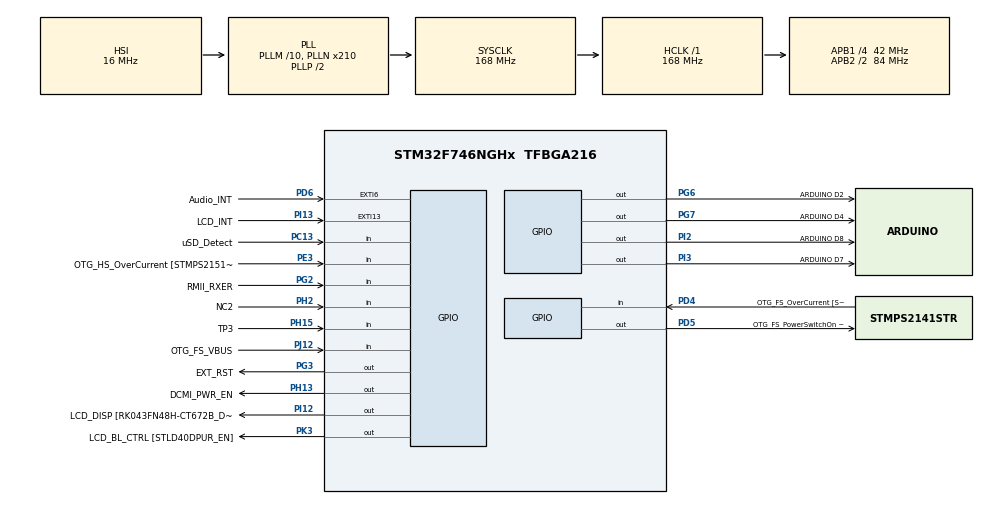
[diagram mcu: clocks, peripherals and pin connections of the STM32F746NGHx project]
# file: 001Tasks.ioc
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Mcu.Family=STM32F7
Mcu.Name=STM32F746NGHx
Mcu.Package=TFBGA216
NVIC.PriorityGroup=NVIC_PRIORITYGROUP_4
NVIC.TIM6_DAC_IRQn=true\:15\:0\:false\:false\:true\:false\:true\:true
NVIC.TimeBase=TIM6_DAC_IRQn
NVIC.TimeBaseIP=TIM6
PA0/WKUP.GPIO_Label=ARDUINO A0
PA0/WKUP.GPIO_Mode=GPIO_MODE_ANALOG
PA0/WKUP.GPIO_PuPd=GPIO_NOPULL
PA0/WKUP.Signal=ADCx_IN0
PA1.GPIO_Label=RMII_REF_CLK [LAN8742A-CZ-TR_REFCLK0]
PA1.Signal=ETH_REF_CLK
PA10.GPIO_Label=OTG_FS_ID
PA10.Signal=USB_OTG_FS_ID
PA11.GPIO_Label=OTG_FS_N
PA11.Signal=USB_OTG_FS_DM
PA12.GPIO_Label=OTG_FS_P
PA12.Signal=USB_OTG_FS_DP
PA13.GPIO_Label=SWDIO
PA13.Signal=SYS_JTMS-SWDIO
PA14.GPIO_Label=SWCLK
PA14.Signal=SYS_JTCK-SWCLK
PA15.GPIO_Label=ARDUINO PWM/D9
PA15.GPIO_ModeDefaultPP=GPIO_MODE_AF_PP
PA15.GPIO_PuPd=GPIO_NOPULL
PA15.GPIO_Speed=GPIO_SPEED_FREQ_LOW
PA15.Signal=S_TIM2_CH1_ETR
PA2.GPIO_Label=RMII_MDIO [LAN8742A-CZ-TR_MDIO]
PA2.Signal=ETH_MDIO
PA3.GPIO_Label=ULPI_D0 [USB3320C-EZK_D0]
PA3.Signal=USB_OTG_HS_ULPI_D0
PA4.GPIO_Label=DCMI_HSYNC
PA4.Signal=DCMI_HSYNC
PA5.GPIO_Label=ULPI_CLK [USB3320C-EZK_CLKOUT]
PA5.Signal=USB_OTG_HS_ULPI_CK
PA6.Signal=DCMI_PIXCLK
PA7.GPIO_Label=RMII_CRS_DV [LAN8742A-CZ-TR_CRS_DV]
PA7.Signal=ETH_CRS_DV
PA8.GPIO_Label=ARDUINO PWM/D10
PA8.GPIO_ModeDefaultPP=GPIO_MODE_AF_PP
PA8.GPIO_PuPd=GPIO_NOPULL
PA8.GPIO_Speed=GPIO_SPEED_FREQ_LOW
PA8.Signal=S_TIM1_CH1
PA9.GPIO_Label=VCP_TX [STM32F103CBT6_PA3]
PA9.GPIO_Mode=GPIO_MODE_AF_PP
PA9.GPIO_PuPd=GPIO_NOPULL
PA9.GPIO_Speed=GPIO_SPEED_FREQ_LOW
PA9.Signal=USART1_TX
PB0.GPIO_Label=ULPI_D1 [USB3320C-EZK_D1]
PB0.Signal=USB_OTG_HS_ULPI_D1
PB1.GPIO_Label=ULPI_D2 [USB3320C-EZK_D2]
PB1.Signal=USB_OTG_HS_ULPI_D2
PB10.GPIO_Label=ULPI_D3 [USB3320C-EZK_D3]
PB10.Signal=USB_OTG_HS_ULPI_D3
PB11.GPIO_Label=ULPI_D4 [USB3320C-EZK_D4]
PB11.Signal=USB_OTG_HS_ULPI_D4
PB12.GPIO_Label=ULPI_D5 [USB3320C-EZK_D5]
PB12.Signal=USB_OTG_HS_ULPI_D5
PB13.GPIO_Label=ULPI_D6 [USB3320C-EZK_D6]
PB13.Signal=USB_OTG_HS_ULPI_D6
PB14.GPIO_Label=ARDUINO MISO/D12
PB14.GPIO_Mode=GPIO_MODE_AF_PP
PB14.GPIO_PuPd=GPIO_NOPULL
PB14.GPIO_Speed=GPIO_SPEED_FREQ_LOW
PB14.Signal=SPI2_MISO
PB15.GPIO_Label=ARDUINO MOSI/PWM/D11
PB15.GPIO_Mode=GPIO_MODE_AF_PP
PB15.GPIO_PuPd=GPIO_NOPULL
PB15.GPIO_Speed=GPIO_SPEED_FREQ_LOW
PB15.Signal=SPI2_MOSI
PB2.Signal=QUADSPI_CLK
PB3.GPIO_Label=SWO
PB3.Signal=SYS_JTDO-SWO
PB4.GPIO_Label=ARDUINO PWM/D3
PB4.GPIO_ModeDefaultPP=GPIO_MODE_AF_PP
PB4.GPIO_PuPd=GPIO_NOPULL
PB4.GPIO_Speed=GPIO_SPEED_FREQ_LOW
PB4.Signal=S_TIM3_CH1
PB5.GPIO_Label=ULPI_D7 [USB3320C-EZK_D7]
PB5.Signal=USB_OTG_HS_ULPI_D7
PB6.GPIO_Label=QSPI_NCS [N25Q128A13EF840E_S]
PB6.Signal=QUADSPI_BK1_NCS
PB7.GPIO_Label=VCP_RX [STM32F103CBT6_PA2]
PB7.GPIO_Mode=GPIO_MODE_AF_PP
PB7.GPIO_PuPd=GPIO_NOPULL
PB7.GPIO_Speed=GPIO_SPEED_FREQ_LOW
PB7.Signal=USART1_RX
PB8.GPIO_Label=ARDUINO SCL/D15
PB8.GPIO_Mode=GPIO_MODE_AF_OD
PB8.GPIO_PuPd=GPIO_NOPULL
PB8.GPIO_Speed=GPIO_SPEED_FREQ_LOW
PB8.Signal=I2C1_SCL
PB9.GPIO_Label=ARDUINO SDA/D14
PB9.GPIO_Mode=GPIO_MODE_AF_OD
PB9.GPIO_PuPd=GPIO_NOPULL
PB9.GPIO_Speed=GPIO_SPEED_FREQ_LOW
PB9.Signal=I2C1_SDA
PC0.GPIO_Label=ULPI_STP [USB3320C-EZK_STP]
PC0.Signal=USB_OTG_HS_ULPI_STP
PC1.GPIO_Label=RMII_MDC [LAN8742A-CZ-TR_MDC]
PC1.Signal=ETH_MDC
PC10.GPIO_Label=SDMMC_D2
PC10.Signal=SDMMC1_D2
PC11.GPIO_Label=SDMMC_D3
PC11.Signal=SDMMC1_D3
PC12.GPIO_Label=SDMMC_CK
PC12.Signal=SDMMC1_CK
PC13.GPIO_Label=uSD_Detect
PC13.Signal=GPIO_Input
PC14/OSC32_IN.GPIO_Label=RCC_OSC32_IN
PC14/OSC32_IN.Signal=RCC_OSC32_IN
PC15/OSC32_OUT.GPIO_Label=RCC_OSC32_OUT
PC15/OSC32_OUT.Signal=RCC_OSC32_OUT
PC2.GPIO_Label=ULPI_DIR [USB3320C-EZK_DIR]
PC2.Signal=USB_OTG_HS_ULPI_DIR
PC3.GPIO_Label=FMC_SDCKE0 [MT48LC4M32B2B5-6A_CKE]
PC3.Signal=FMC_SDCKE0
PC4.GPIO_Label=RMII_RXD0 [LAN8742A-CZ-TR_RXD0]
PC4.Signal=ETH_RXD0
PC5.GPIO_Label=RMII_RXD1 [LAN8742A-CZ-TR_RXD1]
PC5.Signal=ETH_RXD1
PC6.GPIO_Label=ARDUINO TX/D1
PC6.Signal=USART6_TX
PC7.GPIO_Label=ARDUINO RX/D0
PC7.Signal=USART6_RX
PC8.Signal=SDMMC1_D0
PC9.Signal=SDMMC1_D1
PD0.GPIO_Label=FMC_D2 [MT48LC4M32B2B5-6A_DQ2]
PD0.Signal=FMC_D2_DA2
PD1.GPIO_Label=FMC_D3 [MT48LC4M32B2B5-6A_DQ3]
PD1.Signal=FMC_D3_DA3
PD10.GPIO_Label=FMC_D15 [MT48LC4M32B2B5-6A_DQ15]
PD10.Signal=FMC_D15_DA15
PD11.GPIO_Label=QSPI_D0 [N25Q128A13EF840E_DQ0]
PD11.Signal=QUADSPI_BK1_IO0
PD12.GPIO_Label=QSPI_D1 [N25Q128A13EF840E_DQ1]
PD12.Signal=QUADSPI_BK1_IO1
PD13.GPIO_Label=QSPI_D3 [N25Q128A13EF840E_DQ3]
PD13.Signal=QUADSPI_BK1_IO3
PD14.GPIO_Label=FMC_D0 [MT48LC4M32B2B5-6A_DQ0]
PD14.Signal=FMC_D0_DA0
PD15.GPIO_Label=FMC_D1 [MT48LC4M32B2B5-6A_DQ1]
PD15.Signal=FMC_D1_DA1
PD2.GPIO_Label=SDMMC_D0
PD2.Signal=SDMMC1_CMD
PD3.GPIO_Label=DCMI_D5
PD3.Signal=DCMI_D5
PD4.GPIO_Label=OTG_FS_OverCurrent [STMPS2141STR_Fault]
PD4.Signal=GPIO_Input
PD5.GPIO_Label=OTG_FS_PowerSwitchOn [STMPS2141STR_EN]
PD5.PinState=GPIO_PIN_SET
PD5.Signal=GPIO_Output
PD6.GPIO_Label=Audio_INT
PD6.GPIO_ModeDefaultEXTI=GPIO_MODE_EVT_RISING
PD6.Signal=GPXTI6
PD7.GPIO_Label=SPDIF_RX0 [74LVC1G04SE_4]
PD7.Signal=SPDIFRX_IN0
PD8.GPIO_Label=FMC_D13 [MT48LC4M32B2B5-6A_DQ13]
PD8.Signal=FMC_D13_DA13
PD9.GPIO_Label=FMC_D14 [MT48LC4M32B2B5-6A_DQ14]
PD9.Signal=FMC_D14_DA14
PE0.GPIO_Label=FMC_NBL0 [MT48LC4M32B2B5-6A_DQM0]
PE0.Signal=FMC_NBL0
PE1.GPIO_Label=FMC_NBL1 [MT48LC4M32B2B5-6A_DQM1]
PE1.Signal=FMC_NBL1
PE10.GPIO_Label=FMC_D7 [MT48LC4M32B2B5-6A_DQ7]
PE10.Signal=FMC_D7_DA7
PE11.GPIO_Label=FMC_D8 [MT48LC4M32B2B5-6A_DQ8]
PE11.Signal=FMC_D8_DA8
PE12.GPIO_Label=FMC_D9 [MT48LC4M32B2B5-6A_DQ9]
PE12.Signal=FMC_D9_DA9
PE13.GPIO_Label=FMC_D10 [MT48LC4M32B2B5-6A_DQ10]
PE13.Signal=FMC_D10_DA10
PE14.GPIO_Label=FMC_D11 [MT48LC4M32B2B5-6A_DQ11]
PE14.Signal=FMC_D11_DA11
PE15.GPIO_Label=FMC_D12 [MT48LC4M32B2B5-6A_DQ12]
PE15.Signal=FMC_D12_DA12
PE2.GPIO_Label=QSPI_D2 [N25Q128A13EF840E_DQ2]
PE2.Signal=QUADSPI_BK1_IO2
PE3.GPIO_Label=OTG_HS_OverCurrent [STMPS2151STR_FAULT]
PE3.Signal=GPIO_Input
PE4.GPIO_Label=LCD_B0 [RK043FN48H-CT672B_B0]
PE4.Signal=LTDC_B0
PE5.GPIO_Label=DCMI_D6
PE5.Signal=DCMI_D6
PE6.GPIO_Label=DCMI_D7
PE6.Signal=DCMI_D7
PE7.GPIO_Label=FMC_D4 [MT48LC4M32B2B5-6A_DQ4]
PE7.Signal=FMC_D4_DA4
PE8.GPIO_Label=FMC_D5 [MT48LC4M32B2B5-6A_DQ5]
PE8.Signal=FMC_D5_DA5
PE9.GPIO_Label=FMC_D6 [MT48LC4M32B2B5-6A_DQ6]
PE9.Signal=FMC_D6_DA6
PF0.GPIO_Label=FMC_A0 [MT48LC4M32B2B5-6A_A0]
PF0.Signal=FMC_A0
PF1.GPIO_Label=FMC_A1 [MT48LC4M32B2B5-6A_A1]
PF1.Signal=FMC_A1
PF10.GPIO_Label=ARDUINO A1
PF10.GPIO_Mode=GPIO_MODE_ANALOG
PF10.GPIO_PuPd=GPIO_NOPULL
PF10.Signal=ADC3_IN8
PF11.GPIO_Label=FMC_SDNRAS [MT48LC4M32B2B5-6A_RAS]
PF11.Signal=FMC_SDNRAS
PF12.GPIO_Label=FMC_A6 [MT48LC4M32B2B5-6A_A6]
PF12.Signal=FMC_A6
PF13.GPIO_Label=FMC_A7 [MT48LC4M32B2B5-6A_A7]
PF13.Signal=FMC_A7
PF14.GPIO_Label=FMC_A8 [MT48LC4M32B2B5-6A_A8]
PF14.Signal=FMC_A8
PF15.GPIO_Label=FMC_A9 [MT48LC4M32B2B5-6A_A9]
PF15.Signal=FMC_A9
PF2.GPIO_Label=FMC_A2 [MT48LC4M32B2B5-6A_A2]
PF2.Signal=FMC_A2
PF3.GPIO_Label=FMC_A3 [MT48LC4M32B2B5-6A_A3]
PF3.Signal=FMC_A3
PF4.GPIO_Label=FMC_A4 [MT48LC4M32B2B5-6A_A4]
PF4.Signal=FMC_A4
PF5.GPIO_Label=FMC_A5 [MT48LC4M32B2B5-6A_A5]
PF5.Signal=FMC_A5
PF6.GPIO_Label=ARDUINO A5
PF6.GPIO_Mode=GPIO_MODE_ANALOG
PF6.GPIO_PuPd=GPIO_NOPULL
PF6.Signal=ADC3_IN4
PF7.GPIO_Label=ARDUINO A4
PF7.GPIO_Mode=GPIO_MODE_ANALOG
PF7.GPIO_PuPd=GPIO_NOPULL
PF7.Signal=ADC3_IN5
PF8.GPIO_Label=ARDUINO A3
PF8.GPIO_Mode=GPIO_MODE_ANALOG
PF8.GPIO_PuPd=GPIO_NOPULL
PF8.Signal=ADC3_IN6
PF9.GPIO_Label=ARDUINO A2
PF9.GPIO_Mode=GPIO_MODE_ANALOG
PF9.GPIO_PuPd=GPIO_NOPULL
PF9.Signal=ADC3_IN7
PG0.GPIO_Label=FMC_A10 [MT48LC4M32B2B5-6A_A10]
PG0.Signal=FMC_A10
PG1.GPIO_Label=FMC_A11 [MT48LC4M32B2B5-6A_A11]
PG1.Signal=FMC_A11
PG10.GPIO_Label=SAI2_SDB [WM8994ECS/R_ADCDAT1]
PG10.Signal=SAI2_SD_B
PG11.GPIO_Label=RMII_TX_EN [LAN8742A-CZ-TR_TXEN]
PG11.Signal=ETH_TX_EN
PG12.GPIO_Label=LCD_B4 [RK043FN48H-CT672B_B4]
PG12.Signal=LTDC_B4
PG13.GPIO_Label=RMII_TXD0 [LAN8742A-CZ-TR_TXD0]
PG13.Signal=ETH_TXD0
PG14.GPIO_Label=RMII_TXD1 [LAN8742A-CZ-TR_TXD1]
PG14.Signal=ETH_TXD1
PG15.GPIO_Label=FMC_SDNCAS [MT48LC4M32B2B5-6A_CAS]
PG15.Signal=FMC_SDNCAS
PG2.GPIO_Label=RMII_RXER
PG2.Signal=GPIO_Input
PG3.GPIO_Label=EXT_RST
PG3.Signal=GPIO_Output
PG4.GPIO_Label=FMC_BA0 [MT48LC4M32B2B5-6A_BA0]
PG4.Signal=FMC_A14_BA0
PG5.GPIO_Label=FMC_BA1 [MT48LC4M32B2B5-6A_BA1]
PG5.Signal=FMC_A15_BA1
PG6.GPIO_Label=ARDUINO D2
PG6.Signal=GPIO_Output
PG7.GPIO_Label=ARDUINO D4
PG7.Signal=GPIO_Output
PG8.GPIO_Label=FMC_SDCLK [MT48LC4M32B2B5-6A_CLK]
PG8.Signal=FMC_SDCLK
PG9.GPIO_Label=DCMI_VSYNC
PG9.Signal=DCMI_VSYNC
PH0/OSC_IN.GPIO_Label=OSC_25M [NZ2520SB-25.00M_OUT]
PH0/OSC_IN.Signal=RCC_OSC_IN
PH1/OSC_OUT.Signal=RCC_OSC_OUT
PH10.GPIO_Label=DCMI_D1
PH10.Signal=DCMI_D1
PH11.GPIO_Label=DCMI_D2
PH11.Signal=DCMI_D2
PH12.GPIO_Label=DCMI_D3
PH12.Signal=DCMI_D3
PH13.GPIO_Label=DCMI_PWR_EN
PH13.Signal=GPIO_Output
PH14.GPIO_Label=DCMI_D4
PH14.Signal=DCMI_D4
PH15.GPIO_Label=TP3
PH15.Signal=GPIO_Input
PH2.GPIO_Label=NC2
PH2.Signal=GPIO_Input
PH3.GPIO_Label=FMC_SDNE0 [MT48LC4M32B2B5-6A_CS]
PH3.Signal=FMC_SDNE0
PH4.GPIO_Label=ULPI_NXT [USB3320C-EZK_NXT]
PH4.Signal=USB_OTG_HS_ULPI_NXT
PH5.GPIO_Label=FMC_SDNME [MT48LC4M32B2B5-6A_WE]
PH5.Signal=FMC_SDNWE
PH6.GPIO_Label=ARDUINO PWM/D6
PH6.Signal=S_TIM12_CH1
PH7.GPIO_Label=LCD_SCL [RK043FN48H-CT672B_SCL]
PH7.Signal=I2C3_SCL
PH8.GPIO_Label=LCD_SDA [RK043FN48H-CT672B_SDA]
PH8.Signal=I2C3_SDA
PH9.GPIO_Label=DCMI_D0
PH9.Signal=DCMI_D0
PI0.GPIO_Label=ARDUINO PWM/CS/D5
PI0.GPIO_ModeDefaultPP=GPIO_MODE_AF_PP
PI0.GPIO_PuPd=GPIO_NOPULL
PI0.GPIO_Speed=GPIO_SPEED_FREQ_LOW
PI0.Signal=S_TIM5_CH4
PI1.GPIO_Label=ARDUINO SCK/D13
PI1.GPIO_Mode=GPIO_MODE_AF_PP
PI1.GPIO_PuPd=GPIO_NOPULL
PI1.GPIO_Speed=GPIO_SPEED_FREQ_LOW
PI1.Signal=SPI2_SCK
PI10.GPIO_Label=LCD_HSYNC [RK043FN48H-CT672B_HSYNC]
PI10.Signal=LTDC_HSYNC
PI12.GPIO_Label=LCD_DISP [RK043FN48H-CT672B_DISP] 
PI12.Signal=GPIO_Output
PI13.GPIO_Label=LCD_INT
PI13.GPIO_ModeDefaultEXTI=GPIO_MODE_EVT_RISING
PI13.Signal=GPXTI13
PI14.GPIO_Label=LCD_CLK [RK043FN48H-CT672B_CLK]
PI14.Signal=LTDC_CLK
PI15.GPIO_Label=LCD_R0 [RK043FN48H-CT672B_R0]
PI15.Signal=LTDC_R0
PI2.GPIO_Label=ARDUINO D8
PI2.Signal=GPIO_Output
PI3.GPIO_Label=ARDUINO D7
PI3.Signal=GPIO_Output
PI4.GPIO_Label=SAI2_MCLKA [WM8994ECS/R_MCLK1]
PI4.Signal=SAI2_MCLK_A
PI5.GPIO_Label=SAI2_SCKA [WM8994ECS/R_BCLK1]
PI5.Signal=SAI2_SCK_A
PI6.GPIO_Label=SAI2_SDA [WM8994ECS/R_DACDAT1]
PI6.Signal=SAI2_SD_A
PI7.GPIO_Label=SAI2_FSA [WM8994ECS/R_LRCLK1]
PI7.Signal=SAI2_FS_A
PI8.GPIO_Label=NC1 [TP2]
PI8.Signal=RTC_TS
PI9.GPIO_Label=LCD_VSYNC [RK043FN48H-CT672B_VSYNC]
PI9.Signal=LTDC_VSYNC
PJ0.GPIO_Label=LCD_R1 [RK043FN48H-CT672B_R1]
PJ0.Signal=LTDC_R1
PJ1.GPIO_Label=LCD_R2 [RK043FN48H-CT672B_R2]
PJ1.Signal=LTDC_R2
PJ10.GPIO_Label=LCD_G3 [RK043FN48H-CT672B_G3]
PJ10.Signal=LTDC_G3
PJ11.GPIO_Label=LCD_G4 [RK043FN48H-CT672B_G4]
PJ11.Signal=LTDC_G4
PJ12.GPIO_Label=OTG_FS_VBUS
PJ12.Signal=GPIO_Input
PJ13.GPIO_Label=LCD_B1 [RK043FN48H-CT672B_B1]
PJ13.Signal=LTDC_B1
PJ14.GPIO_Label=LCD_B2 [RK043FN48H-CT672B_B2]
PJ14.Signal=LTDC_B2
PJ15.GPIO_Label=LCD_B3 [RK043FN48H-CT672B_B3]
PJ15.Signal=LTDC_B3
PJ2.GPIO_Label=LCD_R3 [RK043FN48H-CT672B_R3]
PJ2.Signal=LTDC_R3
PJ3.GPIO_Label=LCD_R4 [RK043FN48H-CT672B_R4]
PJ3.Signal=LTDC_R4
PJ4.GPIO_Label=LCD_R5 [RK043FN48H-CT672B_R5]
PJ4.Signal=LTDC_R5
PJ5.GPIO_Label=LCD_R6 [RK043FN48H-CT672B_R6]
PJ5.Signal=LTDC_R6
PJ6.GPIO_Label=LCD_R7 [RK043FN48H-CT672B_R7]
PJ6.Signal=LTDC_R7
PJ7.GPIO_Label=LCD_G0 [RK043FN48H-CT672B_G0]
PJ7.Signal=LTDC_G0
PJ8.GPIO_Label=LCD_G1 [RK043FN48H-CT672B_G1]
PJ8.Signal=LTDC_G1
PJ9.GPIO_Label=LCD_G2 [RK043FN48H-CT672B_G2]
PJ9.Signal=LTDC_G2
PK0.GPIO_Label=LCD_G5 [RK043FN48H-CT672B_G5]
PK0.Signal=LTDC_G5
PK1.GPIO_Label=LCD_G6 [RK043FN48H-CT672B_G6]
PK1.Signal=LTDC_G6
PK2.GPIO_Label=LCD_G7 [RK043FN48H-CT672B_G7]
PK2.Signal=LTDC_G7
PK3.GPIO_Label=LCD_BL_CTRL [STLD40DPUR_EN]
PK3.Signal=GPIO_Output
PK4.GPIO_Label=LCD_B5 [RK043FN48H-CT672B_B5]
PK4.Signal=LTDC_B5
PK5.GPIO_Label=LCD_B6 [RK043FN48H-CT672B_B6]
PK5.Signal=LTDC_B6
PK6.GPIO_Label=LCD_B7 [RK043FN48H-CT672B_B7]
PK6.Signal=LTDC_B7
PK7.GPIO_Label=LCD_DE [RK043FN48H-CT672B_DE]
PK7.Signal=LTDC_DE
ProjectManager.HeapSize=0x200
ProjectManager.StackSize=0x400
ProjectManager.TargetToolchain=STM32CubeIDE
RCC.AHBFreq_Value=168000000
RCC.APB1CLKDivider=RCC_HCLK_DIV4
RCC.APB1Freq_Value=42000000
RCC.APB1TimFreq_Value=84000000
RCC.APB2CLKDivider=RCC_HCLK_DIV2
RCC.APB2Freq_Value=84000000
RCC.APB2TimFreq_Value=168000000
RCC.CortexFreq_Value=168000000
RCC.HCLKFreq_Value=168000000
RCC.HSE_VALUE=25000000
RCC.HSI_VALUE=16000000
RCC.LSE_VALUE=32768
RCC.PLLM=10
RCC.PLLN=210
RCC.PLLSourceVirtual=RCC_PLLSOURCE_HSI
RCC.SYSCLKFreq_VALUE=168000000
RCC.SYSCLKSource=RCC_SYSCLKSOURCE_PLLCLK
RCC.USBFreq_Value=168000000
RCC.VCOOutputFreq_Value=336000000
SH.ADCx_IN0.0=ADC3_IN0
SH.FMC_A0.0=FMC_A0
SH.FMC_A1.0=FMC_A1
SH.FMC_A10.0=FMC_A10
SH.FMC_A11.0=FMC_A11
SH.FMC_A14_BA0.0=FMC_BA0
SH.FMC_A15_BA1.0=FMC_BA1
SH.FMC_A2.0=FMC_A2
SH.FMC_A3.0=FMC_A3
SH.FMC_A4.0=FMC_A4
SH.FMC_A5.0=FMC_A5
SH.FMC_A6.0=FMC_A6
SH.FMC_A7.0=FMC_A7
SH.FMC_A8.0=FMC_A8
SH.FMC_A9.0=FMC_A9
SH.FMC_D0_DA0.0=FMC_D0
SH.FMC_D10_DA10.0=FMC_D10
SH.FMC_D11_DA11.0=FMC_D11
SH.FMC_D12_DA12.0=FMC_D12
SH.FMC_D13_DA13.0=FMC_D13
SH.FMC_D14_DA14.0=FMC_D14
SH.FMC_D15_DA15.0=FMC_D15
SH.FMC_D1_DA1.0=FMC_D1
SH.FMC_D2_DA2.0=FMC_D2
SH.FMC_D3_DA3.0=FMC_D3
SH.FMC_D4_DA4.0=FMC_D4
SH.FMC_D5_DA5.0=FMC_D5
SH.FMC_D6_DA6.0=FMC_D6
SH.FMC_D7_DA7.0=FMC_D7
SH.FMC_D8_DA8.0=FMC_D8
SH.FMC_D9_DA9.0=FMC_D9
SH.FMC_NBL0.0=FMC_NBL0
SH.FMC_NBL1.0=FMC_NBL1
SH.FMC_SDCLK.0=FMC_SDCLK
SH.FMC_SDNCAS.0=FMC_SDNCAS
SH.FMC_SDNRAS.0=FMC_SDNRAS
SH.FMC_SDNWE.0=FMC_SDNWE
SH.S_TIM12_CH1.0=TIM12_CH1
SH.S_TIM1_CH1.0=TIM1_CH1
SH.S_TIM2_CH1_ETR.0=TIM2_CH1
SH.S_TIM3_CH1.0=TIM3_CH1
SH.S_TIM5_CH4.0=TIM5_CH4
VP_SYS_VS_tim6.Mode=TIM6
board=STM32F746G-DISCO

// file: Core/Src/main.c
/* USER CODE BEGIN Header */
/**
  ******************************************************************************
  * @file           : main.c
  * @brief          : Main program body
  ******************************************************************************
  * @attention
  *
  * Copyright (c) 2025 STMicroelectronics.
  * All rights reserved.
  *
  * This software is licensed under terms that can be found in the LICENSE file
  * in the root directory of this software component.
  * If no LICENSE file comes with this software, it is provided AS-IS.
  *
  ******************************************************************************
  */
/* USER CODE END Header */
#include "main.h"

/* USER CODE BEGIN Includes */
#include <stdio.h>
#include "FreeRTOS.h"

#include "task.h"
/* USER CODE END Includes */

void SystemClock_Config(void);
static void MX_GPIO_Init(void);
/* USER CODE BEGIN PFP */

static void task1_handler(void *parameters);
static void task2_handler(void *parameters);

/* USER CODE END PFP */

/* USER CODE BEGIN 0 */
/* USER CODE BEGIN 0 */
void vAssertCalled(uint32_t ulLine, const char *pcFile)
{
    __disable_irq();
    while(1);
}
/* USER CODE END 0 */
/* USER CODE END 0 */

int main(void)
{

  /* USER CODE BEGIN 1 */
	TaskHandle_t task1_handle;
	TaskHandle_t task2_handle;

	BaseType_t status;
  /* USER CODE END 1 */

  /* MCU Configuration--------------------------------------------------------*/

  /* Reset of all peripherals, Initializes the Flash interface and the Systick. */
  HAL_Init();

  /* Configure the system clock */
  SystemClock_Config();

  /* Initialize all configured peripherals */
  MX_GPIO_Init();
  /* USER CODE BEGIN 2 */
  status = xTaskCreate(task1_handler, "Task-1", 200, "Hello World from Task-1", 2, &task1_handle);

  configASSERT(status == pdPASS);

  status = xTaskCreate(task2_handler, "Task-2", 200, "Hello World from Task-2", 2, &task2_handle);

  configASSERT(status == pdPASS);

  //Start the scheduler

  vTaskStartScheduler();

  /* USER CODE END 2 */

  /* Infinite loop */
  while (1)
  {

  }
}

void SystemClock_Config(void)
{
  RCC_OscInitTypeDef RCC_OscInitStruct = {0};
  RCC_ClkInitTypeDef RCC_ClkInitStruct = {0};

  /** Configure the main internal regulator output voltage
  */
  __HAL_RCC_PWR_CLK_ENABLE();
  __HAL_PWR_VOLTAGESCALING_CONFIG(PWR_REGULATOR_VOLTAGE_SCALE2);

  /** Initializes the RCC Oscillators according to the specified parameters
  * in the RCC_OscInitTypeDef structure.
  */
  RCC_OscInitStruct.OscillatorType = RCC_OSCILLATORTYPE_HSI;
  RCC_OscInitStruct.HSIState = RCC_HSI_ON;
  RCC_OscInitStruct.HSICalibrationValue = RCC_HSICALIBRATION_DEFAULT;
  RCC_OscInitStruct.PLL.PLLState = RCC_PLL_ON;
  RCC_OscInitStruct.PLL.PLLSource = RCC_PLLSOURCE_HSI;
  RCC_OscInitStruct.PLL.PLLM = 10;
  RCC_OscInitStruct.PLL.PLLN = 210;
  RCC_OscInitStruct.PLL.PLLP = RCC_PLLP_DIV2;
  RCC_OscInitStruct.PLL.PLLQ = 2;
  if (HAL_RCC_OscConfig(&RCC_OscInitStruct) != HAL_OK)
  {
    Error_Handler();
  }

  /** Initializes the CPU, AHB and APB buses clocks
  */
  RCC_ClkInitStruct.ClockType = RCC_CLOCKTYPE_HCLK|RCC_CLOCKTYPE_SYSCLK
                              |RCC_CLOCKTYPE_PCLK1|RCC_CLOCKTYPE_PCLK2;
  RCC_ClkInitStruct.SYSCLKSource = RCC_SYSCLKSOURCE_PLLCLK;
  RCC_ClkInitStruct.AHBCLKDivider = RCC_SYSCLK_DIV1;
  RCC_ClkInitStruct.APB1CLKDivider = RCC_HCLK_DIV4;
  RCC_ClkInitStruct.APB2CLKDivider = RCC_HCLK_DIV2;

  if (HAL_RCC_ClockConfig(&RCC_ClkInitStruct, FLASH_LATENCY_5) != HAL_OK)
  {
    Error_Handler();
  }
}

static void MX_GPIO_Init(void)
{
  GPIO_InitTypeDef GPIO_InitStruct = {0};

  /* GPIO Ports Clock Enable */
  __HAL_RCC_GPIOE_CLK_ENABLE();
  __HAL_RCC_GPIOG_CLK_ENABLE();
  __HAL_RCC_GPIOB_CLK_ENABLE();
  __HAL_RCC_GPIOD_CLK_ENABLE();
  __HAL_RCC_GPIOC_CLK_ENABLE();
  __HAL_RCC_GPIOA_CLK_ENABLE();
  __HAL_RCC_GPIOJ_CLK_ENABLE();
  __HAL_RCC_GPIOI_CLK_ENABLE();
  __HAL_RCC_GPIOK_CLK_ENABLE();
  __HAL_RCC_GPIOF_CLK_ENABLE();
  __HAL_RCC_GPIOH_CLK_ENABLE();

  /*Configure GPIO pin Output Level */
  HAL_GPIO_WritePin(OTG_FS_PowerSwitchOn_GPIO_Port, OTG_FS_PowerSwitchOn_Pin, GPIO_PIN_SET);

  /*Configure GPIO pin Output Level */
  HAL_GPIO_WritePin(GPIOI, ARDUINO_D7_Pin|ARDUINO_D8_Pin|LCD_DISP_Pin, GPIO_PIN_RESET);

  /*Configure GPIO pin Output Level */
  HAL_GPIO_WritePin(LCD_BL_CTRL_GPIO_Port, LCD_BL_CTRL_Pin, GPIO_PIN_RESET);

  /*Configure GPIO pin Output Level */
  HAL_GPIO_WritePin(DCMI_PWR_EN_GPIO_Port, DCMI_PWR_EN_Pin, GPIO_PIN_RESET);

  /*Configure GPIO pin Output Level */
  HAL_GPIO_WritePin(GPIOG, ARDUINO_D4_Pin|ARDUINO_D2_Pin|EXT_RST_Pin, GPIO_PIN_RESET);

  /*Configure GPIO pin : LCD_B0_Pin */
  GPIO_InitStruct.Pin = LCD_B0_Pin;
  GPIO_InitStruct.Mode = GPIO_MODE_AF_PP;
  GPIO_InitStruct.Pull = GPIO_NOPULL;
  GPIO_InitStruct.Speed = GPIO_SPEED_FREQ_LOW;
  GPIO_InitStruct.Alternate = GPIO_AF14_LTDC;
  HAL_GPIO_Init(LCD_B0_GPIO_Port, &GPIO_InitStruct);

  /*Configure GPIO pin : OTG_HS_OverCurrent_Pin */
  GPIO_InitStruct.Pin = OTG_HS_OverCurrent_Pin;
  GPIO_InitStruct.Mode = GPIO_MODE_INPUT;
  GPIO_InitStruct.Pull = GPIO_NOPULL;
  HAL_GPIO_Init(OTG_HS_OverCurrent_GPIO_Port, &GPIO_InitStruct);

  /*Configure GPIO pin : QSPI_D2_Pin */
  GPIO_InitStruct.Pin = QSPI_D2_Pin;
  GPIO_InitStruct.Mode = GPIO_MODE_AF_PP;
  GPIO_InitStruct.Pull = GPIO_NOPULL;
  GPIO_InitStruct.Speed = GPIO_SPEED_FREQ_VERY_HIGH;
  GPIO_InitStruct.Alternate = GPIO_AF9_QUADSPI;
  HAL_GPIO_Init(QSPI_D2_GPIO_Port, &GPIO_InitStruct);

  /*Configure GPIO pins : RMII_TXD1_Pin RMII_TXD0_Pin RMII_TX_EN_Pin */
  GPIO_InitStruct.Pin = RMII_TXD1_Pin|RMII_TXD0_Pin|RMII_TX_EN_Pin;
  GPIO_InitStruct.Mode = GPIO_MODE_AF_PP;
  GPIO_InitStruct.Pull = GPIO_NOPULL;
  GPIO_InitStruct.Speed = GPIO_SPEED_FREQ_VERY_HIGH;
  GPIO_InitStruct.Alternate = GPIO_AF11_ETH;
  HAL_GPIO_Init(GPIOG, &GPIO_InitStruct);

  /*Configure GPIO pins : FMC_NBL1_Pin FMC_NBL0_Pin FMC_D5_Pin FMC_D6_Pin
                           FMC_D8_Pin FMC_D11_Pin FMC_D4_Pin FMC_D7_Pin
                           FMC_D9_Pin FMC_D12_Pin FMC_D10_Pin */
  GPIO_InitStruct.Pin = FMC_NBL1_Pin|FMC_NBL0_Pin|FMC_D5_Pin|FMC_D6_Pin
                          |FMC_D8_Pin|FMC_D11_Pin|FMC_D4_Pin|FMC_D7_Pin
                          |FMC_D9_Pin|FMC_D12_Pin|FMC_D10_Pin;
  GPIO_InitStruct.Mode = GPIO_MODE_AF_PP;
  GPIO_InitStruct.Pull = GPIO_NOPULL;
  GPIO_InitStruct.Speed = GPIO_SPEED_FREQ_VERY_HIGH;
  GPIO_InitStruct.Alternate = GPIO_AF12_FMC;
  HAL_GPIO_Init(GPIOE, &GPIO_InitStruct);

  /*Configure GPIO pins : ARDUINO_SCL_D15_Pin ARDUINO_SDA_D14_Pin */
  GPIO_InitStruct.Pin = ARDUINO_SCL_D15_Pin|ARDUINO_SDA_D14_Pin;
  GPIO_InitStruct.Mode = GPIO_MODE_AF_OD;
  GPIO_InitStruct.Pull = GPIO_NOPULL;
  GPIO_InitStruct.Speed = GPIO_SPEED_FREQ_LOW;
  GPIO_InitStruct.Alternate = GPIO_AF4_I2C1;
  HAL_GPIO_Init(GPIOB, &GPIO_InitStruct);

  /*Configure GPIO pins : ULPI_D7_Pin ULPI_D6_Pin ULPI_D5_Pin ULPI_D3_Pin
                           ULPI_D2_Pin ULPI_D1_Pin ULPI_D4_Pin */
  GPIO_InitStruct.Pin = ULPI_D7_Pin|ULPI_D6_Pin|ULPI_D5_Pin|ULPI_D3_Pin
                          |ULPI_D2_Pin|ULPI_D1_Pin|ULPI_D4_Pin;
  GPIO_InitStruct.Mode = GPIO_MODE_AF_PP;
  GPIO_InitStruct.Pull = GPIO_NOPULL;
  GPIO_InitStruct.Speed = GPIO_SPEED_FREQ_VERY_HIGH;
  GPIO_InitStruct.Alternate = GPIO_AF10_OTG_HS;
  HAL_GPIO_Init(GPIOB, &GPIO_InitStruct);

  /*Configure GPIO pin : ARDUINO_PWM_D3_Pin */
  GPIO_InitStruct.Pin = ARDUINO_PWM_D3_Pin;
  GPIO_InitStruct.Mode = GPIO_MODE_AF_PP;
  GPIO_InitStruct.Pull = GPIO_NOPULL;
  GPIO_InitStruct.Speed = GPIO_SPEED_FREQ_LOW;
  GPIO_InitStruct.Alternate = GPIO_AF2_TIM3;
  HAL_GPIO_Init(ARDUINO_PWM_D3_GPIO_Port, &GPIO_InitStruct);

  /*Configure GPIO pin : SPDIF_RX0_Pin */
  GPIO_InitStruct.Pin = SPDIF_RX0_Pin;
  GPIO_InitStruct.Mode = GPIO_MODE_AF_PP;
  GPIO_InitStruct.Pull = GPIO_NOPULL;
  GPIO_InitStruct.Speed = GPIO_SPEED_FREQ_LOW;
  GPIO_InitStruct.Alternate = GPIO_AF8_SPDIFRX;
  HAL_GPIO_Init(SPDIF_RX0_GPIO_Port, &GPIO_InitStruct);

  /*Configure GPIO pins : SDMMC_CK_Pin SDMMC_D3_Pin SDMMC_D2_Pin PC9
                           PC8 */
  GPIO_InitStruct.Pin = SDMMC_CK_Pin|SDMMC_D3_Pin|SDMMC_D2_Pin|GPIO_PIN_9
                          |GPIO_PIN_8;
  GPIO_InitStruct.Mode = GPIO_MODE_AF_PP;
  GPIO_InitStruct.Pull = GPIO_NOPULL;
  GPIO_InitStruct.Speed = GPIO_SPEED_FREQ_VERY_HIGH;
  GPIO_InitStruct.Alternate = GPIO_AF12_SDMMC1;
  HAL_GPIO_Init(GPIOC, &GPIO_InitStruct);

  /*Configure GPIO pin : ARDUINO_PWM_D9_Pin */
  GPIO_InitStruct.Pin = ARDUINO_PWM_D9_Pin;
  GPIO_InitStruct.Mode = GPIO_MODE_AF_PP;
  GPIO_InitStruct.Pull = GPIO_NOPULL;
  GPIO_InitStruct.Speed = GPIO_SPEED_FREQ_LOW;
  GPIO_InitStruct.Alternate = GPIO_AF1_TIM2;
  HAL_GPIO_Init(ARDUINO_PWM_D9_GPIO_Port, &GPIO_InitStruct);

  /*Configure GPIO pins : DCMI_D6_Pin DCMI_D7_Pin */
  GPIO_InitStruct.Pin = DCMI_D6_Pin|DCMI_D7_Pin;
  GPIO_InitStruct.Mode = GPIO_MODE_AF_PP;
  GPIO_InitStruct.Pull = GPIO_NOPULL;
  GPIO_InitStruct.Speed = GPIO_SPEED_FREQ_LOW;
  GPIO_InitStruct.Alternate = GPIO_AF13_DCMI;
  HAL_GPIO_Init(GPIOE, &GPIO_InitStruct);

  /*Configure GPIO pin : VCP_RX_Pin */
  GPIO_InitStruct.Pin = VCP_RX_Pin;
  GPIO_InitStruct.Mode = GPIO_MODE_AF_PP;
  GPIO_InitStruct.Pull = GPIO_NOPULL;
  GPIO_InitStruct.Speed = GPIO_SPEED_FREQ_LOW;
  GPIO_InitStruct.Alternate = GPIO_AF7_USART1;
  HAL_GPIO_Init(VCP_RX_GPIO_Port, &GPIO_InitStruct);

  /*Configure GPIO pin : QSPI_NCS_Pin */
  GPIO_InitStruct.Pin = QSPI_NCS_Pin;
  GPIO_InitStruct.Mode = GPIO_MODE_AF_PP;
  GPIO_InitStruct.Pull = GPIO_NOPULL;
  GPIO_InitStruct.Speed = GPIO_SPEED_FREQ_VERY_HIGH;
  GPIO_InitStruct.Alternate = GPIO_AF10_QUADSPI;
  HAL_GPIO_Init(QSPI_NCS_GPIO_Port, &GPIO_InitStruct);

  /*Configure GPIO pins : FMC_SDNCAS_Pin FMC_SDCLK_Pin FMC_A11_Pin FMC_A10_Pin
                           FMC_BA1_Pin FMC_BA0_Pin */
  GPIO_InitStruct.Pin = FMC_SDNCAS_Pin|FMC_SDCLK_Pin|FMC_A11_Pin|FMC_A10_Pin
                          |FMC_BA1_Pin|FMC_BA0_Pin;
  GPIO_InitStruct.Mode = GPIO_MODE_AF_PP;
  GPIO_InitStruct.Pull = GPIO_NOPULL;
  GPIO_InitStruct.Speed = GPIO_SPEED_FREQ_VERY_HIGH;
  GPIO_InitStruct.Alternate = GPIO_AF12_FMC;
  HAL_GPIO_Init(GPIOG, &GPIO_InitStruct);

  /*Configure GPIO pins : LCD_B1_Pin LCD_B2_Pin LCD_B3_Pin LCD_G4_Pin
                           LCD_G1_Pin LCD_G3_Pin LCD_G0_Pin LCD_G2_Pin
                           LCD_R7_Pin LCD_R5_Pin LCD_R6_Pin LCD_R4_Pin
                           LCD_R3_Pin LCD_R1_Pin LCD_R2_Pin */
  GPIO_InitStruct.Pin = LCD_B1_Pin|LCD_B2_Pin|LCD_B3_Pin|LCD_G4_Pin
                          |LCD_G1_Pin|LCD_G3_Pin|LCD_G0_Pin|LCD_G2_Pin
                          |LCD_R7_Pin|LCD_R5_Pin|LCD_R6_Pin|LCD_R4_Pin
                          |LCD_R3_Pin|LCD_R1_Pin|LCD_R2_Pin;
  GPIO_InitStruct.Mode = GPIO_MODE_AF_PP;
  GPIO_InitStruct.Pull = GPIO_NOPULL;
  GPIO_InitStruct.Speed = GPIO_SPEED_FREQ_LOW;
  GPIO_InitStruct.Alternate = GPIO_AF14_LTDC;
  HAL_GPIO_Init(GPIOJ, &GPIO_InitStruct);

  /*Configure GPIO pin : OTG_FS_VBUS_Pin */
  GPIO_InitStruct.Pin = OTG_FS_VBUS_Pin;
  GPIO_InitStruct.Mode = GPIO_MODE_INPUT;
  GPIO_InitStruct.Pull = GPIO_NOPULL;
  HAL_GPIO_Init(OTG_FS_VBUS_GPIO_Port, &GPIO_InitStruct);

  /*Configure GPIO pin : Audio_INT_Pin */
  GPIO_InitStruct.Pin = Audio_INT_Pin;
  GPIO_InitStruct.Mode = GPIO_MODE_EVT_RISING;
  GPIO_InitStruct.Pull = GPIO_NOPULL;
  HAL_GPIO_Init(Audio_INT_GPIO_Port, &GPIO_InitStruct);

  /*Configure GPIO pins : FMC_D2_Pin FMC_D3_Pin FMC_D1_Pin FMC_D15_Pin
                           FMC_D0_Pin FMC_D14_Pin FMC_D13_Pin */
  GPIO_InitStruct.Pin = FMC_D2_Pin|FMC_D3_Pin|FMC_D1_Pin|FMC_D15_Pin
                          |FMC_D0_Pin|FMC_D14_Pin|FMC_D13_Pin;
  GPIO_InitStruct.Mode = GPIO_MODE_AF_PP;
  GPIO_InitStruct.Pull = GPIO_NOPULL;
  GPIO_InitStruct.Speed = GPIO_SPEED_FREQ_VERY_HIGH;
  GPIO_InitStruct.Alternate = GPIO_AF12_FMC;
  HAL_GPIO_Init(GPIOD, &GPIO_InitStruct);

  /*Configure GPIO pins : OTG_FS_P_Pin OTG_FS_N_Pin OTG_FS_ID_Pin */
  GPIO_InitStruct.Pin = OTG_FS_P_Pin|OTG_FS_N_Pin|OTG_FS_ID_Pin;
  GPIO_InitStruct.Mode = GPIO_MODE_AF_PP;
  GPIO_InitStruct.Pull = GPIO_NOPULL;
  GPIO_InitStruct.Speed = GPIO_SPEED_FREQ_VERY_HIGH;
  GPIO_InitStruct.Alternate = GPIO_AF10_OTG_FS;
  HAL_GPIO_Init(GPIOA, &GPIO_InitStruct);

  /*Configure GPIO pins : SAI2_MCLKA_Pin SAI2_SCKA_Pin SAI2_FSA_Pin SAI2_SDA_Pin */
  GPIO_InitStruct.Pin = SAI2_MCLKA_Pin|SAI2_SCKA_Pin|SAI2_FSA_Pin|SAI2_SDA_Pin;
  GPIO_InitStruct.Mode = GPIO_MODE_AF_PP;
  GPIO_InitStruct.Pull = GPIO_NOPULL;
  GPIO_InitStruct.Speed = GPIO_SPEED_FREQ_LOW;
  GPIO_InitStruct.Alternate = GPIO_AF10_SAI2;
  HAL_GPIO_Init(GPIOI, &GPIO_InitStruct);

  /*Configure GPIO pins : LCD_DE_Pin LCD_B7_Pin LCD_B6_Pin LCD_B5_Pin
                           LCD_G6_Pin LCD_G7_Pin LCD_G5_Pin */
  GPIO_InitStruct.Pin = LCD_DE_Pin|LCD_B7_Pin|LCD_B6_Pin|LCD_B5_Pin
                          |LCD_G6_Pin|LCD_G7_Pin|LCD_G5_Pin;
  GPIO_InitStruct.Mode = GPIO_MODE_AF_PP;
  GPIO_InitStruct.Pull = GPIO_NOPULL;
  GPIO_InitStruct.Speed = GPIO_SPEED_FREQ_LOW;
  GPIO_InitStruct.Alternate = GPIO_AF14_LTDC;
  HAL_GPIO_Init(GPIOK, &GPIO_InitStruct);

  /*Configure GPIO pin : LCD_B4_Pin */
  GPIO_InitStruct.Pin = LCD_B4_Pin;
  GPIO_InitStruct.Mode = GPIO_MODE_AF_PP;
  GPIO_InitStruct.Pull = GPIO_NOPULL;
  GPIO_InitStruct.Speed = GPIO_SPEED_FREQ_LOW;
  GPIO_InitStruct.Alternate = GPIO_AF9_LTDC;
  HAL_GPIO_Init(LCD_B4_GPIO_Port, &GPIO_InitStruct);

  /*Configure GPIO pin : SAI2_SDB_Pin */
  GPIO_InitStruct.Pin = SAI2_SDB_Pin;
  GPIO_InitStruct.Mode = GPIO_MODE_AF_PP;
  GPIO_InitStruct.Pull = GPIO_NOPULL;
  GPIO_InitStruct.Speed = GPIO_SPEED_FREQ_LOW;
  GPIO_InitStruct.Alternate = GPIO_AF10_SAI2;
  HAL_GPIO_Init(SAI2_SDB_GPIO_Port, &GPIO_InitStruct);

  /*Configure GPIO pin : OTG_FS_PowerSwitchOn_Pin */
  GPIO_InitStruct.Pin = OTG_FS_PowerSwitchOn_Pin;
  GPIO_InitStruct.Mode = GPIO_MODE_OUTPUT_PP;
  GPIO_InitStruct.Pull = GPIO_NOPULL;
  GPIO_InitStruct.Speed = GPIO_SPEED_FREQ_LOW;
  HAL_GPIO_Init(OTG_FS_PowerSwitchOn_GPIO_Port, &GPIO_InitStruct);

  /*Configure GPIO pin : DCMI_D5_Pin */
  GPIO_InitStruct.Pin = DCMI_D5_Pin;
  GPIO_InitStruct.Mode = GPIO_MODE_AF_PP;
  GPIO_InitStruct.Pull = GPIO_NOPULL;
  GPIO_InitStruct.Speed = GPIO_SPEED_FREQ_LOW;
  GPIO_InitStruct.Alternate = GPIO_AF13_DCMI;
  HAL_GPIO_Init(DCMI_D5_GPIO_Port, &GPIO_InitStruct);

  /*Configure GPIO pins : ARDUINO_D7_Pin ARDUINO_D8_Pin LCD_DISP_Pin */
  GPIO_InitStruct.Pin = ARDUINO_D7_Pin|ARDUINO_D8_Pin|LCD_DISP_Pin;
  GPIO_InitStruct.Mode = GPIO_MODE_OUTPUT_PP;
  GPIO_InitStruct.Pull = GPIO_NOPULL;
  GPIO_InitStruct.Speed = GPIO_SPEED_FREQ_LOW;
  HAL_GPIO_Init(GPIOI, &GPIO_InitStruct);

  /*Configure GPIO pin : uSD_Detect_Pin */
  GPIO_InitStruct.Pin = uSD_Detect_Pin;
  GPIO_InitStruct.Mode = GPIO_MODE_INPUT;
  GPIO_InitStruct.Pull = GPIO_NOPULL;
  HAL_GPIO_Init(uSD_Detect_GPIO_Port, &GPIO_InitStruct);

  /*Configure GPIO pins : FMC_A0_Pin FMC_A1_Pin FMC_A2_Pin FMC_A3_Pin
                           FMC_A4_Pin FMC_A5_Pin FMC_A6_Pin FMC_A9_Pin
                           FMC_A7_Pin FMC_A8_Pin FMC_SDNRAS_Pin */
  GPIO_InitStruct.Pin = FMC_A0_Pin|FMC_A1_Pin|FMC_A2_Pin|FMC_A3_Pin
                          |FMC_A4_Pin|FMC_A5_Pin|FMC_A6_Pin|FMC_A9_Pin
                          |FMC_A7_Pin|FMC_A8_Pin|FMC_SDNRAS_Pin;
  GPIO_InitStruct.Mode = GPIO_MODE_AF_PP;
  GPIO_InitStruct.Pull = GPIO_NOPULL;
  GPIO_InitStruct.Speed = GPIO_SPEED_FREQ_VERY_HIGH;
  GPIO_InitStruct.Alternate = GPIO_AF12_FMC;
  HAL_GPIO_Init(GPIOF, &GPIO_InitStruct);

  /*Configure GPIO pins : LCD_HSYNC_Pin LCD_VSYNC_Pin LCD_R0_Pin LCD_CLK_Pin */
  GPIO_InitStruct.Pin = LCD_HSYNC_Pin|LCD_VSYNC_Pin|LCD_R0_Pin|LCD_CLK_Pin;
  GPIO_InitStruct.Mode = GPIO_MODE_AF_PP;
  GPIO_InitStruct.Pull = GPIO_NOPULL;
  GPIO_InitStruct.Speed = GPIO_SPEED_FREQ_LOW;
  GPIO_InitStruct.Alternate = GPIO_AF14_LTDC;
  HAL_GPIO_Init(GPIOI, &GPIO_InitStruct);

  /*Configure GPIO pin : LCD_BL_CTRL_Pin */
  GPIO_InitStruct.Pin = LCD_BL_CTRL_Pin;
  GPIO_InitStruct.Mode = GPIO_MODE_OUTPUT_PP;
  GPIO_InitStruct.Pull = GPIO_NOPULL;
  GPIO_InitStruct.Speed = GPIO_SPEED_FREQ_LOW;
  HAL_GPIO_Init(LCD_BL_CTRL_GPIO_Port, &GPIO_InitStruct);

  /*Configure GPIO pin : DCMI_VSYNC_Pin */
  GPIO_InitStruct.Pin = DCMI_VSYNC_Pin;
  GPIO_InitStruct.Mode = GPIO_MODE_AF_PP;
  GPIO_InitStruct.Pull = GPIO_NOPULL;
  GPIO_InitStruct.Speed = GPIO_SPEED_FREQ_LOW;
  GPIO_InitStruct.Alternate = GPIO_AF13_DCMI;
  HAL_GPIO_Init(DCMI_VSYNC_GPIO_Port, &GPIO_InitStruct);

  /*Configure GPIO pin : OTG_FS_OverCurrent_Pin */
  GPIO_InitStruct.Pin = OTG_FS_OverCurrent_Pin;
  GPIO_InitStruct.Mode = GPIO_MODE_INPUT;
  GPIO_InitStruct.Pull = GPIO_NOPULL;
  HAL_GPIO_Init(OTG_FS_OverCurrent_GPIO_Port, &GPIO_InitStruct);

  /*Configure GPIO pin : SDMMC_D0_Pin */
  GPIO_InitStruct.Pin = SDMMC_D0_Pin;
  GPIO_InitStruct.Mode = GPIO_MODE_AF_PP;
  GPIO_InitStruct.Pull = GPIO_NOPULL;
  GPIO_InitStruct.Speed = GPIO_SPEED_FREQ_VERY_HIGH;
  GPIO_InitStruct.Alternate = GPIO_AF12_SDMMC1;
  HAL_GPIO_Init(SDMMC_D0_GPIO_Port, &GPIO_InitStruct);

  /*Configure GPIO pins : TP3_Pin NC2_Pin */
  GPIO_InitStruct.Pin = TP3_Pin|NC2_Pin;
  GPIO_InitStruct.Mode = GPIO_MODE_INPUT;
  GPIO_InitStruct.Pull = GPIO_NOPULL;
  HAL_GPIO_Init(GPIOH, &GPIO_InitStruct);

  /*Configure GPIO pin : ARDUINO_SCK_D13_Pin */
  GPIO_InitStruct.Pin = ARDUINO_SCK_D13_Pin;
  GPIO_InitStruct.Mode = GPIO_MODE_AF_PP;
  GPIO_InitStruct.Pull = GPIO_NOPULL;
  GPIO_InitStruct.Speed = GPIO_SPEED_FREQ_LOW;
  GPIO_InitStruct.Alternate = GPIO_AF5_SPI2;
  HAL_GPIO_Init(ARDUINO_SCK_D13_GPIO_Port, &GPIO_InitStruct);

  /*Configure GPIO pin : DCMI_PWR_EN_Pin */
  GPIO_InitStruct.Pin = DCMI_PWR_EN_Pin;
  GPIO_InitStruct.Mode = GPIO_MODE_OUTPUT_PP;
  GPIO_InitStruct.Pull = GPIO_NOPULL;
  GPIO_InitStruct.Speed = GPIO_SPEED_FREQ_LOW;
  HAL_GPIO_Init(DCMI_PWR_EN_GPIO_Port, &GPIO_InitStruct);

  /*Configure GPIO pins : DCMI_D4_Pin DCMI_D3_Pin DCMI_D0_Pin DCMI_D2_Pin
                           DCMI_D1_Pin */
  GPIO_InitStruct.Pin = DCMI_D4_Pin|DCMI_D3_Pin|DCMI_D0_Pin|DCMI_D2_Pin
                          |DCMI_D1_Pin;
  GPIO_InitStruct.Mode = GPIO_MODE_AF_PP;
  GPIO_InitStruct.Pull = GPIO_NOPULL;
  GPIO_InitStruct.Speed = GPIO_SPEED_FREQ_LOW;
  GPIO_InitStruct.Alternate = GPIO_AF13_DCMI;
  HAL_GPIO_Init(GPIOH, &GPIO_InitStruct);

  /*Configure GPIO pin : ARDUINO_PWM_CS_D5_Pin */
  GPIO_InitStruct.Pin = ARDUINO_PWM_CS_D5_Pin;
  GPIO_InitStruct.Mode = GPIO_MODE_AF_PP;
  GPIO_InitStruct.Pull = GPIO_NOPULL;
  GPIO_InitStruct.Speed = GPIO_SPEED_FREQ_LOW;
  GPIO_InitStruct.Alternate = GPIO_AF2_TIM5;
  HAL_GPIO_Init(ARDUINO_PWM_CS_D5_GPIO_Port, &GPIO_InitStruct);

  /*Configure GPIO pin : VCP_TX_Pin */
  GPIO_InitStruct.Pin = VCP_TX_Pin;
  GPIO_InitStruct.Mode = GPIO_MODE_AF_PP;
  GPIO_InitStruct.Pull = GPIO_NOPULL;
  GPIO_InitStruct.Speed = GPIO_SPEED_FREQ_LOW;
  GPIO_InitStruct.Alternate = GPIO_AF7_USART1;
  HAL_GPIO_Init(VCP_TX_GPIO_Port, &GPIO_InitStruct);

  /*Configure GPIO pin : ARDUINO_PWM_D10_Pin */
  GPIO_InitStruct.Pin = ARDUINO_PWM_D10_Pin;
  GPIO_InitStruct.Mode = GPIO_MODE_AF_PP;
  GPIO_InitStruct.Pull = GPIO_NOPULL;
  GPIO_InitStruct.Speed = GPIO_SPEED_FREQ_LOW;
  GPIO_InitStruct.Alternate = GPIO_AF1_TIM1;
  HAL_GPIO_Init(ARDUINO_PWM_D10_GPIO_Port, &GPIO_InitStruct);

  /*Configure GPIO pin : LCD_INT_Pin */
  GPIO_InitStruct.Pin = LCD_INT_Pin;
  GPIO_InitStruct.Mode = GPIO_MODE_EVT_RISING;
  GPIO_InitStruct.Pull = GPIO_NOPULL;
  HAL_GPIO_Init(LCD_INT_GPIO_Port, &GPIO_InitStruct);

  /*Configure GPIO pins : ARDUINO_RX_D0_Pin ARDUINO_TX_D1_Pin */
  GPIO_InitStruct.Pin = ARDUINO_RX_D0_Pin|ARDUINO_TX_D1_Pin;
  GPIO_InitStruct.Mode = GPIO_MODE_AF_PP;
  GPIO_InitStruct.Pull = GPIO_NOPULL;
  GPIO_InitStruct.Speed = GPIO_SPEED_FREQ_VERY_HIGH;
  GPIO_InitStruct.Alternate = GPIO_AF8_USART6;
  HAL_GPIO_Init(GPIOC, &GPIO_InitStruct);

  /*Configure GPIO pin : ULPI_NXT_Pin */
  GPIO_InitStruct.Pin = ULPI_NXT_Pin;
  GPIO_InitStruct.Mode = GPIO_MODE_AF_PP;
  GPIO_InitStruct.Pull = GPIO_NOPULL;
  GPIO_InitStruct.Speed = GPIO_SPEED_FREQ_VERY_HIGH;
  GPIO_InitStruct.Alternate = GPIO_AF10_OTG_HS;
  HAL_GPIO_Init(ULPI_NXT_GPIO_Port, &GPIO_InitStruct);

  /*Configure GPIO pins : FMC_SDNME_Pin FMC_SDNE0_Pin */
  GPIO_InitStruct.Pin = FMC_SDNME_Pin|FMC_SDNE0_Pin;
  GPIO_InitStruct.Mode = GPIO_MODE_AF_PP;
  GPIO_InitStruct.Pull = GPIO_NOPULL;
  GPIO_InitStruct.Speed = GPIO_SPEED_FREQ_VERY_HIGH;
  GPIO_InitStruct.Alternate = GPIO_AF12_FMC;
  HAL_GPIO_Init(GPIOH, &GPIO_InitStruct);

  /*Configure GPIO pins : ARDUINO_D4_Pin ARDUINO_D2_Pin EXT_RST_Pin */
  GPIO_InitStruct.Pin = ARDUINO_D4_Pin|ARDUINO_D2_Pin|EXT_RST_Pin;
  GPIO_InitStruct.Mode = GPIO_MODE_OUTPUT_PP;
  GPIO_InitStruct.Pull = GPIO_NOPULL;
  GPIO_InitStruct.Speed = GPIO_SPEED_FREQ_LOW;
  HAL_GPIO_Init(GPIOG, &GPIO_InitStruct);

  /*Configure GPIO pins : ARDUINO_A4_Pin ARDUINO_A5_Pin ARDUINO_A1_Pin ARDUINO_A2_Pin
                           ARDUINO_A3_Pin */
  GPIO_InitStruct.Pin = ARDUINO_A4_Pin|ARDUINO_A5_Pin|ARDUINO_A1_Pin|ARDUINO_A2_Pin
                          |ARDUINO_A3_Pin;
  GPIO_InitStruct.Mode = GPIO_MODE_ANALOG;
  GPIO_InitStruct.Pull = GPIO_NOPULL;
  HAL_GPIO_Init(GPIOF, &GPIO_InitStruct);

  /*Configure GPIO pin : FMC_SDCKE0_Pin */
  GPIO_InitStruct.Pin = FMC_SDCKE0_Pin;
  GPIO_InitStruct.Mode = GPIO_MODE_AF_PP;
  GPIO_InitStruct.Pull = GPIO_NOPULL;
  GPIO_InitStruct.Speed = GPIO_SPEED_FREQ_VERY_HIGH;
  GPIO_InitStruct.Alternate = GPIO_AF12_FMC;
  HAL_GPIO_Init(FMC_SDCKE0_GPIO_Port, &GPIO_InitStruct);

  /*Configure GPIO pins : ULPI_STP_Pin ULPI_DIR_Pin */
  GPIO_InitStruct.Pin = ULPI_STP_Pin|ULPI_DIR_Pin;
  GPIO_InitStruct.Mode = GPIO_MODE_AF_PP;
  GPIO_InitStruct.Pull = GPIO_NOPULL;
  GPIO_InitStruct.Speed = GPIO_SPEED_FREQ_VERY_HIGH;
  GPIO_InitStruct.Alternate = GPIO_AF10_OTG_HS;
  HAL_GPIO_Init(GPIOC, &GPIO_InitStruct);

  /*Configure GPIO pins : RMII_MDC_Pin RMII_RXD0_Pin RMII_RXD1_Pin */
  GPIO_InitStruct.Pin = RMII_MDC_Pin|RMII_RXD0_Pin|RMII_RXD1_Pin;
  GPIO_InitStruct.Mode = GPIO_MODE_AF_PP;
  GPIO_InitStruct.Pull = GPIO_NOPULL;
  GPIO_InitStruct.Speed = GPIO_SPEED_FREQ_VERY_HIGH;
  GPIO_InitStruct.Alternate = GPIO_AF11_ETH;
  HAL_GPIO_Init(GPIOC, &GPIO_InitStruct);

  /*Configure GPIO pin : PB2 */
  GPIO_InitStruct.Pin = GPIO_PIN_2;
  GPIO_InitStruct.Mode = GPIO_MODE_AF_PP;
  GPIO_InitStruct.Pull = GPIO_NOPULL;
  GPIO_InitStruct.Speed = GPIO_SPEED_FREQ_VERY_HIGH;
  GPIO_InitStruct.Alternate = GPIO_AF9_QUADSPI;
  HAL_GPIO_Init(GPIOB, &GPIO_InitStruct);

  /*Configure GPIO pins : QSPI_D1_Pin QSPI_D3_Pin QSPI_D0_Pin */
  GPIO_InitStruct.Pin = QSPI_D1_Pin|QSPI_D3_Pin|QSPI_D0_Pin;
  GPIO_InitStruct.Mode = GPIO_MODE_AF_PP;
  GPIO_InitStruct.Pull = GPIO_NOPULL;
  GPIO_InitStruct.Speed = GPIO_SPEED_FREQ_VERY_HIGH;
  GPIO_InitStruct.Alternate = GPIO_AF9_QUADSPI;
  HAL_GPIO_Init(GPIOD, &GPIO_InitStruct);

  /*Configure GPIO pin : RMII_RXER_Pin */
  GPIO_InitStruct.Pin = RMII_RXER_Pin;
  GPIO_InitStruct.Mode = GPIO_MODE_INPUT;
  GPIO_InitStruct.Pull = GPIO_NOPULL;
  HAL_GPIO_Init(RMII_RXER_GPIO_Port, &GPIO_InitStruct);

  /*Configure GPIO pins : RMII_REF_CLK_Pin RMII_MDIO_Pin RMII_CRS_DV_Pin */
  GPIO_InitStruct.Pin = RMII_REF_CLK_Pin|RMII_MDIO_Pin|RMII_CRS_DV_Pin;
  GPIO_InitStruct.Mode = GPIO_MODE_AF_PP;
  GPIO_InitStruct.Pull = GPIO_NOPULL;
  GPIO_InitStruct.Speed = GPIO_SPEED_FREQ_VERY_HIGH;
  GPIO_InitStruct.Alternate = GPIO_AF11_ETH;
  HAL_GPIO_Init(GPIOA, &GPIO_InitStruct);

  /*Configure GPIO pin : ARDUINO_A0_Pin */
  GPIO_InitStruct.Pin = ARDUINO_A0_Pin;
  GPIO_InitStruct.Mode = GPIO_MODE_ANALOG;
  GPIO_InitStruct.Pull = GPIO_NOPULL;
  HAL_GPIO_Init(ARDUINO_A0_GPIO_Port, &GPIO_InitStruct);

  /*Configure GPIO pins : DCMI_HSYNC_Pin PA6 */
  GPIO_InitStruct.Pin = DCMI_HSYNC_Pin|GPIO_PIN_6;
  GPIO_InitStruct.Mode = GPIO_MODE_AF_PP;
  GPIO_InitStruct.Pull = GPIO_NOPULL;
  GPIO_InitStruct.Speed = GPIO_SPEED_FREQ_LOW;
  GPIO_InitStruct.Alternate = GPIO_AF13_DCMI;
  HAL_GPIO_Init(GPIOA, &GPIO_InitStruct);

  /*Configure GPIO pins : LCD_SCL_Pin LCD_SDA_Pin */
  GPIO_InitStruct.Pin = LCD_SCL_Pin|LCD_SDA_Pin;
  GPIO_InitStruct.Mode = GPIO_MODE_AF_OD;
  GPIO_InitStruct.Pull = GPIO_NOPULL;
  GPIO_InitStruct.Speed = GPIO_SPEED_FREQ_VERY_HIGH;
  GPIO_InitStruct.Alternate = GPIO_AF4_I2C3;
  HAL_GPIO_Init(GPIOH, &GPIO_InitStruct);

  /*Configure GPIO pins : ULPI_CLK_Pin ULPI_D0_Pin */
  GPIO_InitStruct.Pin = ULPI_CLK_Pin|ULPI_D0_Pin;
  GPIO_InitStruct.Mode = GPIO_MODE_AF_PP;
  GPIO_InitStruct.Pull = GPIO_NOPULL;
  GPIO_InitStruct.Speed = GPIO_SPEED_FREQ_VERY_HIGH;
  GPIO_InitStruct.Alternate = GPIO_AF10_OTG_HS;
  HAL_GPIO_Init(GPIOA, &GPIO_InitStruct);

  /*Configure GPIO pin : ARDUINO_PWM_D6_Pin */
  GPIO_InitStruct.Pin = ARDUINO_PWM_D6_Pin;
  GPIO_InitStruct.Mode = GPIO_MODE_AF_PP;
  GPIO_InitStruct.Pull = GPIO_NOPULL;
  GPIO_InitStruct.Speed = GPIO_SPEED_FREQ_LOW;
  GPIO_InitStruct.Alternate = GPIO_AF9_TIM12;
  HAL_GPIO_Init(ARDUINO_PWM_D6_GPIO_Port, &GPIO_InitStruct);

  /*Configure GPIO pins : ARDUINO_MISO_D12_Pin ARDUINO_MOSI_PWM_D11_Pin */
  GPIO_InitStruct.Pin = ARDUINO_MISO_D12_Pin|ARDUINO_MOSI_PWM_D11_Pin;
  GPIO_InitStruct.Mode = GPIO_MODE_AF_PP;
  GPIO_InitStruct.Pull = GPIO_NOPULL;
  GPIO_InitStruct.Speed = GPIO_SPEED_FREQ_LOW;
  GPIO_InitStruct.Alternate = GPIO_AF5_SPI2;
  HAL_GPIO_Init(GPIOB, &GPIO_InitStruct);

}

/* USER CODE BEGIN 4 */

static void task1_handler(void *parameters)
{

	while(1)
	{
		printf("%s\n",(char *)parameters);
		taskYIELD();
	}

}

static void task2_handler(void *parameters)
{

	while(1)
	{
		printf("%s\n",(char *)parameters);
		taskYIELD();
	}

}
/* USER CODE END 4 */

void HAL_TIM_PeriodElapsedCallback(TIM_HandleTypeDef *htim)
{
  if (htim->Instance == TIM6) {
    HAL_IncTick();
  }
}

void Error_Handler(void)
{
  __disable_irq();
  while (1)
  {
  }
}

/*void vAssertCalled(uint32_t ulLine, const char *pcFile)
{
    __disable_irq();  // Stop interrupts
    while(1);         // Stay here forever to signal the crash
}*/
